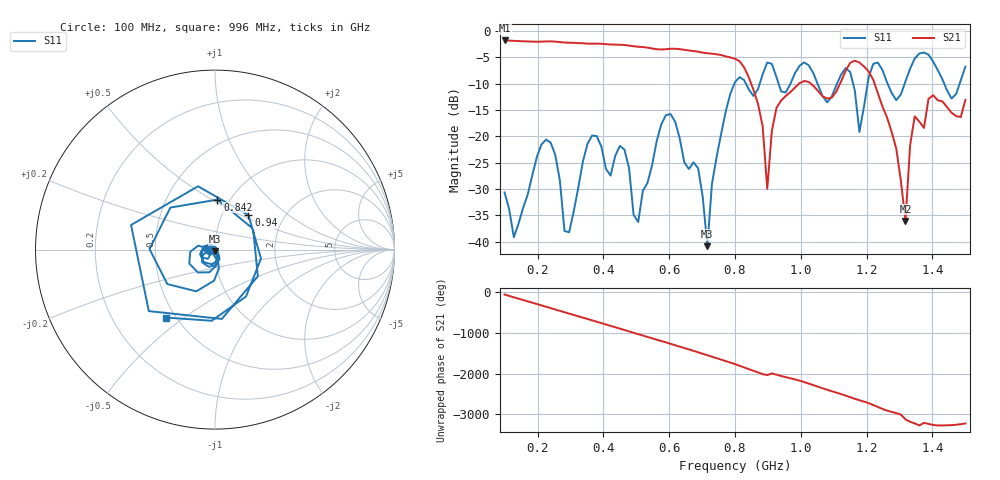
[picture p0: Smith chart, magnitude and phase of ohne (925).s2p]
! NanoVNA-App
! Date: 2025-09-25 14:28:00
! Start: 100MHz Stop: 1,5GHz Points: 101
! S-Parameter data: F S11 S21 S12 S22
# Hz S RI R 50
!  Frequency  S11_Real  S11_Imag  S21_Real  S21_Imag  S12_Real  S12_Imag  S22_Real  S22_Imag
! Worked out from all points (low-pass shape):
!   101 points, 100 MHz to 1.5 GHz, reference 50 ohm
!   highest |S21| = -1.79 dB at 100 MHz (marker M1); lowest = -36.1 dB at 1.318 GHz (marker M2)
!   |S21| within 3 dB of the highest: start of sweep to 770.8 MHz
!   lowest |S11| = -40.8 dB at 716 MHz (marker M3), VSWR 1.02, Z = 49.8 - j0.894 ohm
!   |S11| at or under -10 dB: start of sweep to 798 MHz; 833.3 MHz to 875.1 MHz (41.81 MHz wide, 4.89 % of centre); 1.051 GHz to 1.11 GHz (59.32 MHz wide, 5.49 % of centre) (the widest 3 of 7)
!   S12 and S22 are empty: the file has one direction only
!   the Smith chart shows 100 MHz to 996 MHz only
!   S11 on the Smith chart (normalised r, x): 100 MHz: 0.94, -0.01; 842 MHz: 0.88, +0.53; 940 MHz: 1.33, +0.55; 996 MHz: 0.44, -0.43
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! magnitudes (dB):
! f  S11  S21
! 100 MHz  -30.6  -1.8
! 128 MHz  -39.1  -1.9
! 226 MHz  -20.6  -2.0
! 296 MHz  -38.2  -2.2
! 338 MHz  -24.7  -2.3
! 464 MHz  -22.5  -2.7
! 506 MHz  -36.2  -3.0
! 576 MHz  -17.7  -3.5
! 688 MHz  -26.1  -3.9
! 716 MHz  -40.8  -4.2
! 800 MHz  -9.7  -5.3
! 842 MHz  -11.1  -8.8
! 898 MHz  -6.0  -30.0
! 940 MHz  -11.5  -13.2
! 996 MHz  -6.6  -9.9
! 1.038 GHz  -8.0  -10.4
! 1.178 GHz  -19.2  -6.0
! 1.22 GHz  -6.2  -9.2
! 1.276 GHz  -11.8  -19.2
! 1.318 GHz  -9.5  -36.1
! 1.346 GHz  -5.2  -16.2
! 1.5 GHz  -6.8  -13.1
